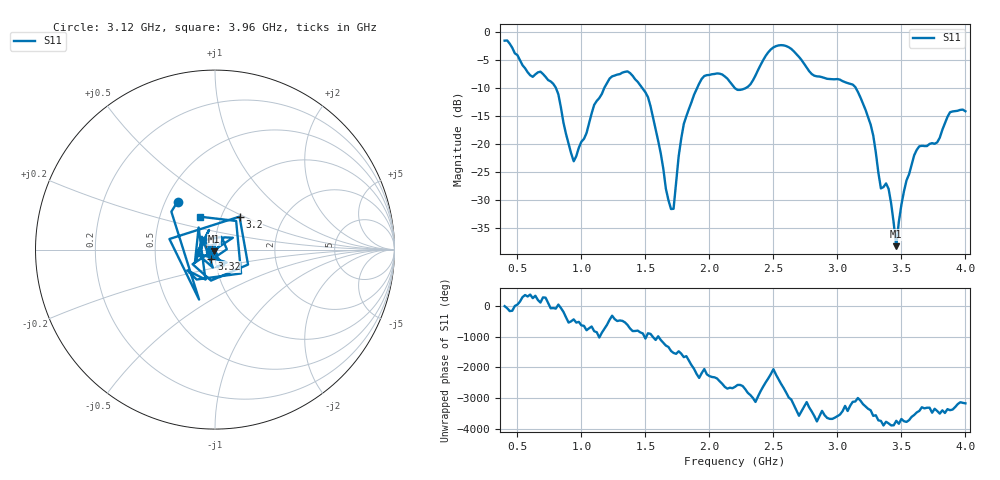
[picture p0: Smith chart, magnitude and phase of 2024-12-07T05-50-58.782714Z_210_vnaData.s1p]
!Created with skrf (http://scikit-rf.org).
# Hz S RI R 50.0
!freq ReS11 ImS11
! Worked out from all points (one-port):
!   181 points, 400 MHz to 4 GHz, reference 50 ohm
!   lowest |S11| = -38.1 dB at 3.46 GHz (marker M1), VSWR 1.03, Z = 49.3 - j0.982 ohm
!   |S11| at or under -10 dB: 801 MHz to 1.179 GHz (377.6 MHz wide, 38.2 % of centre); 1.476 GHz to 1.904 GHz (428.1 MHz wide, 25.3 % of centre); 3.144 GHz to end of sweep (the widest 3 of 4)
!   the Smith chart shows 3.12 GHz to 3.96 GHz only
!   S11 on the Smith chart (normalised r, x): 3.12 GHz: 0.58, +0.35; 3.2 GHz: 1.22, +0.47; 3.32 GHz: 0.95, -0.10; 3.96 GHz: 0.79, +0.30
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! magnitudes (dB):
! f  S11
! 400 MHz  -1.6
! 780 MHz  -9.2
! 860 MHz  -16.2
! 940 MHz  -23.0
! 1.1 GHz  -13.0
! 1.3 GHz  -7.5
! 1.52 GHz  -11.6
! 1.7 GHz  -31.5
! 1.72 GHz  -31.5
! 1.76 GHz  -22.1
! 1.8 GHz  -16.4
! 1.94 GHz  -8.4
! 2.2 GHz  -10.1
! 2.5 GHz  -2.8
! 2.66 GHz  -3.5
! 2.82 GHz  -7.8
! 3.1 GHz  -9.3
! 3.12 GHz  -9.4
! 3.2 GHz  -12.8
! 3.28 GHz  -18.4
! 3.32 GHz  -25.1
! 3.4 GHz  -27.9
! 3.46 GHz  -38.1
! 3.5 GHz  -30.8
! 3.56 GHz  -25.3
! 3.64 GHz  -20.4
! 3.96 GHz  -13.9
! 4 GHz  -14.1
